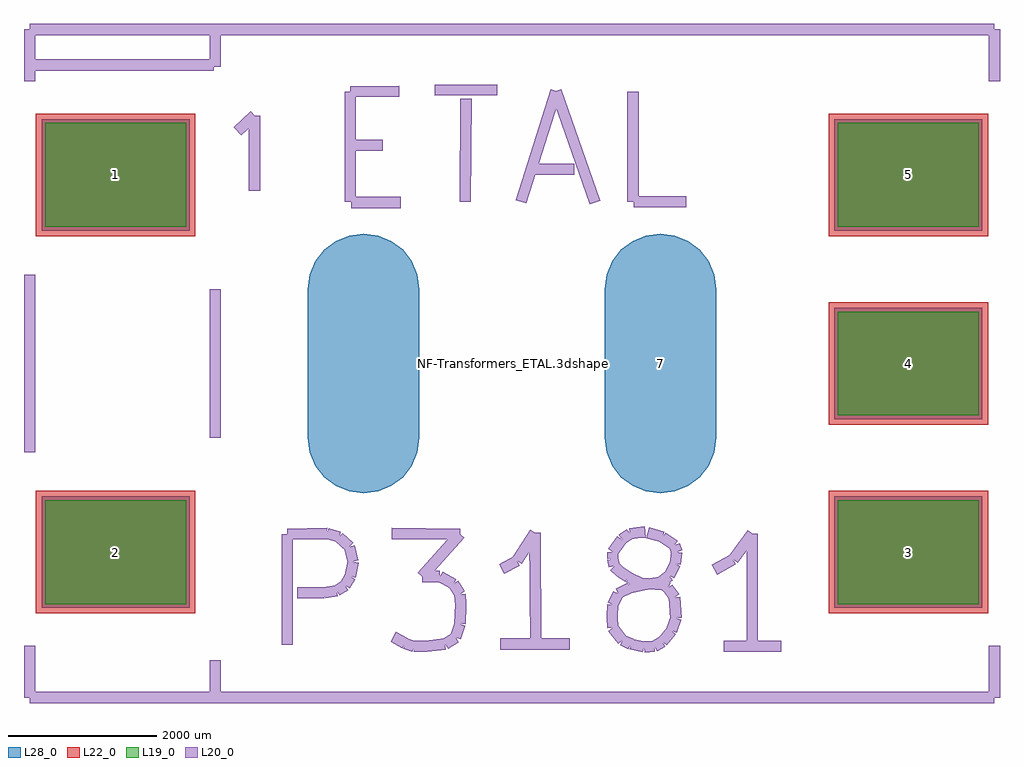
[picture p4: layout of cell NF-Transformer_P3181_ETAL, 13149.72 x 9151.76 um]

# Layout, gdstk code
import gdstk
lib = gdstk.Library(unit=1e-6, precision=1e-09)
def R(c, l, rs):  # rectangles x0, y0, x1, y1
    for r in rs: c.add(gdstk.rectangle(r[:2], r[2:], *l))
def A(c, l, x, y, w, h, nx, ny, dx, dy):  # array of equal rectangles
    R(c, l, [(x+i*dx, y+j*dy, x+i*dx+w, y+j*dy+h) for i in range(nx) for j in range(ny)])
def P(c, l, *ps):  # polygons
    for p in ps: c.add(gdstk.Polygon(p, *l))
L19_0 = (19, 0)
L20_0 = (20, 0)
L22_0 = (22, 0)
L28_0 = (28, 0)

nf_transformer_p3181_eta = lib.new_cell('NF-Transformer_P3181_ETAL')
A(nf_transformer_p3181_eta, L19_0, 4389.59, -3240.57, 1898.98, 1401.14, 1, 3, 0, 2540)
R(nf_transformer_p3181_eta, L19_0, [(-6288.57,-3240.57,-4389.59,-1839.43), (-6288.57,1839.43,-4389.59,3240.57)])
A(nf_transformer_p3181_eta, L22_0, 4264.59, -3365.57, 2148.98, 1651.14, 1, 3, 0, 2540)
R(nf_transformer_p3181_eta, L22_0, [(-6413.57,-3365.57,-4264.59,-1714.43), (-6413.57,1714.43,-4264.59,3365.57)])
A(nf_transformer_p3181_eta, L28_0, 4339.59, -3290.57, 1998.98, 1501.14, 1, 3, 0, 2540)
R(nf_transformer_p3181_eta, L28_0, [(-6338.57,-3290.57,-4339.59,-1789.43), (-6338.57,1789.43,-4339.59,3290.57)])
P(nf_transformer_p3181_eta, L28_0, [(-1998.98,-1750.06),(-1804.718,-1724.485),(-1623.695,-1649.503),(-1468.247,-1530.223),(-1348.967,-1374.775),(-1273.985,-1193.752),(-1248.41,-999.49),(-1248.41,999.49),(-1273.985,1193.752),(-1348.967,1374.775),(-1468.247,1530.223),(-1623.695,1649.503),(-1804.718,1724.485),(-1998.98,1750.06),(-2193.242,1724.485),(-2374.265,1649.503),(-2529.713,1530.223),(-2648.993,1374.775),(-2723.975,1193.752),(-2749.55,999.49),(-2749.55,-999.49),(-2723.975,-1193.752),(-2648.993,-1374.775),(-2529.713,-1530.223),(-2374.265,-1649.503),(-2193.242,-1724.485)],
  [(1998.98,-1750.06),(2193.242,-1724.485),(2374.265,-1649.503),(2529.713,-1530.223),(2648.993,-1374.775),(2723.975,-1193.752),(2749.55,-999.49),(2749.55,999.49),(2723.975,1193.752),(2648.993,1374.775),(2529.713,1530.223),(2374.265,1649.503),(2193.242,1724.485),(1998.98,1750.06),(1804.718,1724.485),(1623.695,1649.503),(1468.247,1530.223),(1348.967,1374.775),(1273.985,1193.752),(1248.41,999.49),(1248.41,-999.49),(1273.985,-1193.752),(1348.967,-1374.775),(1468.247,-1530.223),(1623.695,-1649.503),(1804.718,-1724.485)])
nf_transformer_p3181_eta.add(gdstk.FlexPath([(-6499.86,-4500.88),(6499.86,-4500.88)], 149.998, ends="flush", simple_path=True, layer=20, datatype=0))  # L20_0
nf_transformer_p3181_eta.add(gdstk.FlexPath([(6499.86,4500.88),(-6499.86,4500.88)], 149.998, ends="flush", simple_path=True, layer=20, datatype=0))  # L20_0
nf_transformer_p3181_eta.add(gdstk.FlexPath([(6499.86,4500.88),(6499.86,3799.84)], 149.998, ends="flush", simple_path=True, layer=20, datatype=0))  # L20_0
nf_transformer_p3181_eta.add(gdstk.FlexPath([(6499.86,-3799.84),(6499.86,-4500.88)], 149.998, ends="flush", simple_path=True, layer=20, datatype=0))  # L20_0
nf_transformer_p3181_eta.add(gdstk.FlexPath([(-6499.86,-3799.84),(-6499.86,-4500.88)], 149.998, ends="flush", simple_path=True, layer=20, datatype=0))  # L20_0
nf_transformer_p3181_eta.add(gdstk.FlexPath([(-6499.86,4500.88),(-6499.86,3799.84)], 149.998, ends="flush", simple_path=True, layer=20, datatype=0))  # L20_0
nf_transformer_p3181_eta.add(gdstk.FlexPath([(-6499.86,1198.88),(-6499.86,-1198.88)], 149.998, ends="flush", simple_path=True, layer=20, datatype=0))  # L20_0
nf_transformer_p3181_eta.add(gdstk.FlexPath([(-2169.16,2169.16),(-1498.6,2169.16)], 149.998, ends="flush", simple_path=True, layer=20, datatype=0))  # L20_0
nf_transformer_p3181_eta.add(gdstk.FlexPath([(-2179.32,3660.14),(-2179.32,2179.32)], 149.998, ends="flush", simple_path=True, layer=20, datatype=0))  # L20_0
nf_transformer_p3181_eta.add(gdstk.FlexPath([(-1518.92,3670.3),(-2179.32,3660.14)], 149.998, ends="flush", simple_path=True, layer=20, datatype=0))  # L20_0
nf_transformer_p3181_eta.add(gdstk.FlexPath([(-2148.84,2938.78),(-1739.9,2938.78)], 149.998, ends="flush", simple_path=True, layer=20, datatype=0))  # L20_0
nf_transformer_p3181_eta.add(gdstk.FlexPath([(-1038.86,3680.46),(-198.12,3690.62)], 149.998, ends="flush", simple_path=True, layer=20, datatype=0))  # L20_0
nf_transformer_p3181_eta.add(gdstk.FlexPath([(-629.92,2179.32),(-619.76,3568.7)], 149.998, ends="flush", simple_path=True, layer=20, datatype=0))  # L20_0
nf_transformer_p3181_eta.add(gdstk.FlexPath([(591.82,3670.3),(1120.14,2169.16)], 149.998, ends="flush", simple_path=True, layer=20, datatype=0))  # L20_0
nf_transformer_p3181_eta.add(gdstk.FlexPath([(121.92,2179.32),(591.82,3670.3)], 149.998, ends="flush", simple_path=True, layer=20, datatype=0))  # L20_0
nf_transformer_p3181_eta.add(gdstk.FlexPath([(299.72,2618.74),(840.74,2618.74)], 149.998, ends="flush", simple_path=True, layer=20, datatype=0))  # L20_0
nf_transformer_p3181_eta.add(gdstk.FlexPath([(1638.3,2179.32),(2349.5,2179.32)], 149.998, ends="flush", simple_path=True, layer=20, datatype=0))  # L20_0
nf_transformer_p3181_eta.add(gdstk.FlexPath([(1630.68,3660.14),(1630.68,2179.32)], 149.998, ends="flush", simple_path=True, layer=20, datatype=0))  # L20_0
nf_transformer_p3181_eta.add(gdstk.FlexPath([(-2529.84,-3088.64),(-2890.52,-3088.64)], 149.998, ends="flush", simple_path=True, layer=20, datatype=0))  # L20_0
nf_transformer_p3181_eta.add(gdstk.FlexPath([(-2359.66,-3060.7),(-2529.84,-3088.64)], 149.998, ends="flush", simple_path=True, layer=20, datatype=0))  # L20_0
nf_transformer_p3181_eta.add(gdstk.FlexPath([(-2250.44,-2989.58),(-2359.66,-3060.7)], 149.998, ends="flush", simple_path=True, layer=20, datatype=0))  # L20_0
nf_transformer_p3181_eta.add(gdstk.FlexPath([(-2179.32,-2870.2),(-2250.44,-2989.58)], 149.998, ends="flush", simple_path=True, layer=20, datatype=0))  # L20_0
nf_transformer_p3181_eta.add(gdstk.FlexPath([(-2141.22,-2669.54),(-2179.32,-2870.2)], 149.998, ends="flush", simple_path=True, layer=20, datatype=0))  # L20_0
nf_transformer_p3181_eta.add(gdstk.FlexPath([(-2189.48,-2468.88),(-2141.22,-2669.54)], 149.998, ends="flush", simple_path=True, layer=20, datatype=0))  # L20_0
nf_transformer_p3181_eta.add(gdstk.FlexPath([(-2329.18,-2339.34),(-2189.48,-2468.88)], 149.998, ends="flush", simple_path=True, layer=20, datatype=0))  # L20_0
nf_transformer_p3181_eta.add(gdstk.FlexPath([(-2489.2,-2291.08),(-2329.18,-2339.34)], 149.998, ends="flush", simple_path=True, layer=20, datatype=0))  # L20_0
nf_transformer_p3181_eta.add(gdstk.FlexPath([(-3030.22,-2298.7),(-2489.2,-2291.08)], 149.998, ends="flush", simple_path=True, layer=20, datatype=0))  # L20_0
nf_transformer_p3181_eta.add(gdstk.FlexPath([(-3030.22,-3789.68),(-3030.22,-2298.7)], 149.998, ends="flush", simple_path=True, layer=20, datatype=0))  # L20_0
nf_transformer_p3181_eta.add(gdstk.FlexPath([(-1440.18,-3769.36),(-1600.2,-3680.46)], 149.998, ends="flush", simple_path=True, layer=20, datatype=0))  # L20_0
nf_transformer_p3181_eta.add(gdstk.FlexPath([(-1320.8,-3810),(-1440.18,-3769.36)], 149.998, ends="flush", simple_path=True, layer=20, datatype=0))  # L20_0
nf_transformer_p3181_eta.add(gdstk.FlexPath([(-1150.62,-3810),(-1320.8,-3810)], 149.998, ends="flush", simple_path=True, layer=20, datatype=0))  # L20_0
nf_transformer_p3181_eta.add(gdstk.FlexPath([(-901.7,-3779.52),(-1150.62,-3810)], 149.998, ends="flush", simple_path=True, layer=20, datatype=0))  # L20_0
nf_transformer_p3181_eta.add(gdstk.FlexPath([(-759.46,-3690.62),(-901.7,-3779.52)], 149.998, ends="flush", simple_path=True, layer=20, datatype=0))  # L20_0
nf_transformer_p3181_eta.add(gdstk.FlexPath([(-701.04,-3510.28),(-759.46,-3690.62)], 149.998, ends="flush", simple_path=True, layer=20, datatype=0))  # L20_0
nf_transformer_p3181_eta.add(gdstk.FlexPath([(-690.88,-3248.66),(-701.04,-3510.28)], 149.998, ends="flush", simple_path=True, layer=20, datatype=0))  # L20_0
nf_transformer_p3181_eta.add(gdstk.FlexPath([(-701.04,-3108.96),(-690.88,-3248.66)], 149.998, ends="flush", simple_path=True, layer=20, datatype=0))  # L20_0
nf_transformer_p3181_eta.add(gdstk.FlexPath([(-789.94,-2969.26),(-701.04,-3108.96)], 149.998, ends="flush", simple_path=True, layer=20, datatype=0))  # L20_0
nf_transformer_p3181_eta.add(gdstk.FlexPath([(-970.28,-2870.2),(-789.94,-2969.26)], 149.998, ends="flush", simple_path=True, layer=20, datatype=0))  # L20_0
nf_transformer_p3181_eta.add(gdstk.FlexPath([(-1211.58,-2870.2),(-970.28,-2870.2)], 149.998, ends="flush", simple_path=True, layer=20, datatype=0))  # L20_0
nf_transformer_p3181_eta.add(gdstk.FlexPath([(-701.04,-2298.7),(-1211.58,-2870.2)], 149.998, ends="flush", simple_path=True, layer=20, datatype=0))  # L20_0
nf_transformer_p3181_eta.add(gdstk.FlexPath([(-1620.52,-2291.08),(-701.04,-2298.7)], 149.998, ends="flush", simple_path=True, layer=20, datatype=0))  # L20_0
nf_transformer_p3181_eta.add(gdstk.FlexPath([(309.88,-2280.92),(320.04,-3779.52)], 149.998, ends="flush", simple_path=True, layer=20, datatype=0))  # L20_0
nf_transformer_p3181_eta.add(gdstk.FlexPath([(68.58,-2659.38),(309.88,-2280.92)], 149.998, ends="flush", simple_path=True, layer=20, datatype=0))  # L20_0
nf_transformer_p3181_eta.add(gdstk.FlexPath([(-139.7,-2768.6),(68.58,-2659.38)], 149.998, ends="flush", simple_path=True, layer=20, datatype=0))  # L20_0
nf_transformer_p3181_eta.add(gdstk.FlexPath([(-160.02,-3779.52),(779.78,-3779.52)], 149.998, ends="flush", simple_path=True, layer=20, datatype=0))  # L20_0
nf_transformer_p3181_eta.add(gdstk.FlexPath([(2029.46,-2339.34),(1828.8,-2280.92)], 149.998, ends="flush", simple_path=True, layer=20, datatype=0))  # L20_0
nf_transformer_p3181_eta.add(gdstk.FlexPath([(2189.48,-2448.56),(2029.46,-2339.34)], 149.998, ends="flush", simple_path=True, layer=20, datatype=0))  # L20_0
nf_transformer_p3181_eta.add(gdstk.FlexPath([(2219.96,-2540),(2189.48,-2448.56)], 149.998, ends="flush", simple_path=True, layer=20, datatype=0))  # L20_0
nf_transformer_p3181_eta.add(gdstk.FlexPath([(2199.64,-2700.02),(2219.96,-2540)], 149.998, ends="flush", simple_path=True, layer=20, datatype=0))  # L20_0
nf_transformer_p3181_eta.add(gdstk.FlexPath([(2118.36,-2860.04),(2199.64,-2700.02)], 149.998, ends="flush", simple_path=True, layer=20, datatype=0))  # L20_0
nf_transformer_p3181_eta.add(gdstk.FlexPath([(1998.98,-2948.94),(2118.36,-2860.04)], 149.998, ends="flush", simple_path=True, layer=20, datatype=0))  # L20_0
nf_transformer_p3181_eta.add(gdstk.FlexPath([(1770.38,-2979.42),(1998.98,-2948.94)], 149.998, ends="flush", simple_path=True, layer=20, datatype=0))  # L20_0
nf_transformer_p3181_eta.add(gdstk.FlexPath([(1590.04,-3020.06),(1770.38,-2979.42)], 149.998, ends="flush", simple_path=True, layer=20, datatype=0))  # L20_0
nf_transformer_p3181_eta.add(gdstk.FlexPath([(1430.02,-3098.8),(1590.04,-3020.06)], 149.998, ends="flush", simple_path=True, layer=20, datatype=0))  # L20_0
nf_transformer_p3181_eta.add(gdstk.FlexPath([(1358.9,-3248.66),(1430.02,-3098.8)], 149.998, ends="flush", simple_path=True, layer=20, datatype=0))  # L20_0
nf_transformer_p3181_eta.add(gdstk.FlexPath([(1348.74,-3408.68),(1358.9,-3248.66)], 149.998, ends="flush", simple_path=True, layer=20, datatype=0))  # L20_0
nf_transformer_p3181_eta.add(gdstk.FlexPath([(1358.9,-3561.08),(1348.74,-3408.68)], 149.998, ends="flush", simple_path=True, layer=20, datatype=0))  # L20_0
nf_transformer_p3181_eta.add(gdstk.FlexPath([(1488.44,-3728.72),(1358.9,-3561.08)], 149.998, ends="flush", simple_path=True, layer=20, datatype=0))  # L20_0
nf_transformer_p3181_eta.add(gdstk.FlexPath([(1600.2,-3779.52),(1488.44,-3728.72)], 149.998, ends="flush", simple_path=True, layer=20, datatype=0))  # L20_0
nf_transformer_p3181_eta.add(gdstk.FlexPath([(1780.54,-3820.16),(1600.2,-3779.52)], 149.998, ends="flush", simple_path=True, layer=20, datatype=0))  # L20_0
nf_transformer_p3181_eta.add(gdstk.FlexPath([(1920.24,-3810),(1780.54,-3820.16)], 149.998, ends="flush", simple_path=True, layer=20, datatype=0))  # L20_0
nf_transformer_p3181_eta.add(gdstk.FlexPath([(2029.46,-3749.04),(1920.24,-3810)], 149.998, ends="flush", simple_path=True, layer=20, datatype=0))  # L20_0
nf_transformer_p3181_eta.add(gdstk.FlexPath([(2148.84,-3599.18),(2029.46,-3749.04)], 149.998, ends="flush", simple_path=True, layer=20, datatype=0))  # L20_0
nf_transformer_p3181_eta.add(gdstk.FlexPath([(2209.8,-3429),(2148.84,-3599.18)], 149.998, ends="flush", simple_path=True, layer=20, datatype=0))  # L20_0
nf_transformer_p3181_eta.add(gdstk.FlexPath([(2189.48,-3149.6),(2209.8,-3429)], 149.998, ends="flush", simple_path=True, layer=20, datatype=0))  # L20_0
nf_transformer_p3181_eta.add(gdstk.FlexPath([(2100.58,-3020.06),(2189.48,-3149.6)], 149.998, ends="flush", simple_path=True, layer=20, datatype=0))  # L20_0
nf_transformer_p3181_eta.add(gdstk.FlexPath([(2029.46,-2979.42),(2100.58,-3020.06)], 149.998, ends="flush", simple_path=True, layer=20, datatype=0))  # L20_0
nf_transformer_p3181_eta.add(gdstk.FlexPath([(1739.9,-2959.1),(2029.46,-2979.42)], 149.998, ends="flush", simple_path=True, layer=20, datatype=0))  # L20_0
nf_transformer_p3181_eta.add(gdstk.FlexPath([(1569.72,-2880.36),(1739.9,-2959.1)], 149.998, ends="flush", simple_path=True, layer=20, datatype=0))  # L20_0
nf_transformer_p3181_eta.add(gdstk.FlexPath([(1460.5,-2809.24),(1569.72,-2880.36)], 149.998, ends="flush", simple_path=True, layer=20, datatype=0))  # L20_0
nf_transformer_p3181_eta.add(gdstk.FlexPath([(1379.22,-2730.5),(1460.5,-2809.24)], 149.998, ends="flush", simple_path=True, layer=20, datatype=0))  # L20_0
nf_transformer_p3181_eta.add(gdstk.FlexPath([(1358.9,-2628.9),(1379.22,-2730.5)], 149.998, ends="flush", simple_path=True, layer=20, datatype=0))  # L20_0
nf_transformer_p3181_eta.add(gdstk.FlexPath([(1358.9,-2540),(1358.9,-2628.9)], 149.998, ends="flush", simple_path=True, layer=20, datatype=0))  # L20_0
nf_transformer_p3181_eta.add(gdstk.FlexPath([(1480.82,-2369.82),(1358.9,-2540)], 149.998, ends="flush", simple_path=True, layer=20, datatype=0))  # L20_0
nf_transformer_p3181_eta.add(gdstk.FlexPath([(1590.04,-2291.08),(1480.82,-2369.82)], 149.998, ends="flush", simple_path=True, layer=20, datatype=0))  # L20_0
nf_transformer_p3181_eta.add(gdstk.FlexPath([(1689.1,-2280.92),(1590.04,-2291.08)], 149.998, ends="flush", simple_path=True, layer=20, datatype=0))  # L20_0
nf_transformer_p3181_eta.add(gdstk.FlexPath([(1798.32,-2270.76),(1689.1,-2280.92)], 149.998, ends="flush", simple_path=True, layer=20, datatype=0))  # L20_0
nf_transformer_p3181_eta.add(gdstk.FlexPath([(3238.5,-2291.08),(3238.5,-3779.52)], 149.998, ends="flush", simple_path=True, layer=20, datatype=0))  # L20_0
nf_transformer_p3181_eta.add(gdstk.FlexPath([(2979.42,-2639.06),(3238.5,-2291.08)], 149.998, ends="flush", simple_path=True, layer=20, datatype=0))  # L20_0
nf_transformer_p3181_eta.add(gdstk.FlexPath([(2730.5,-2778.76),(2979.42,-2639.06)], 149.998, ends="flush", simple_path=True, layer=20, datatype=0))  # L20_0
nf_transformer_p3181_eta.add(gdstk.FlexPath([(2849.88,-3810),(3629.66,-3810)], 149.998, ends="flush", simple_path=True, layer=20, datatype=0))  # L20_0
nf_transformer_p3181_eta.add(gdstk.FlexPath([(-4000.5,4500.88),(-4000.5,4000.5)], 149.998, ends="flush", simple_path=True, layer=20, datatype=0))  # L20_0
nf_transformer_p3181_eta.add(gdstk.FlexPath([(-4000.5,1000.76),(-4000.5,-1000.76)], 149.998, ends="flush", simple_path=True, layer=20, datatype=0))  # L20_0
nf_transformer_p3181_eta.add(gdstk.FlexPath([(-4000.5,-4500.88),(-4000.5,-4000.5)], 149.998, ends="flush", simple_path=True, layer=20, datatype=0))  # L20_0
nf_transformer_p3181_eta.add(gdstk.FlexPath([(-4020.82,4020.82),(-6459.22,4020.82)], 149.998, ends="flush", simple_path=True, layer=20, datatype=0))  # L20_0
nf_transformer_p3181_eta.add(gdstk.FlexPath([(-3469.64,3340.1),(-3469.64,2329.18)], 149.998, ends="flush", simple_path=True, layer=20, datatype=0))  # L20_0
nf_transformer_p3181_eta.add(gdstk.FlexPath([(-3700.78,3129.28),(-3469.64,3340.1)], 149.998, ends="flush", simple_path=True, layer=20, datatype=0))  # L20_0
nf_transformer_p3181_eta.add(gdstk.Label('NF-Transformers_ETAL.3dshapes/NF-Transformer_P3181_ETAL.wrl', (0,0), layer=12, texttype=0))
nf_transformer_p3181_eta.add(gdstk.Label('7', (1998.98,0), layer=28, texttype=0))
nf_transformer_p3181_eta.add(gdstk.Label('5', (5339.08,2540), layer=28, texttype=0))
nf_transformer_p3181_eta.add(gdstk.Label('4', (5339.08,0), layer=28, texttype=0))
nf_transformer_p3181_eta.add(gdstk.Label('3', (5339.08,-2540), layer=28, texttype=0))
nf_transformer_p3181_eta.add(gdstk.Label('2', (-5339.08,-2540), layer=28, texttype=0))
nf_transformer_p3181_eta.add(gdstk.Label('1', (-5339.08,2540), layer=28, texttype=0))
nf_transformer_p3181_eta.add(gdstk.Label('type', (0,-6499.86), layer=9, texttype=0))
nf_transformer_p3181_eta.add(gdstk.Label('devicename', (0,7000.24), layer=9, texttype=0))

lib.write_gds('NF-Transformer_P3181_ETAL.gds')
